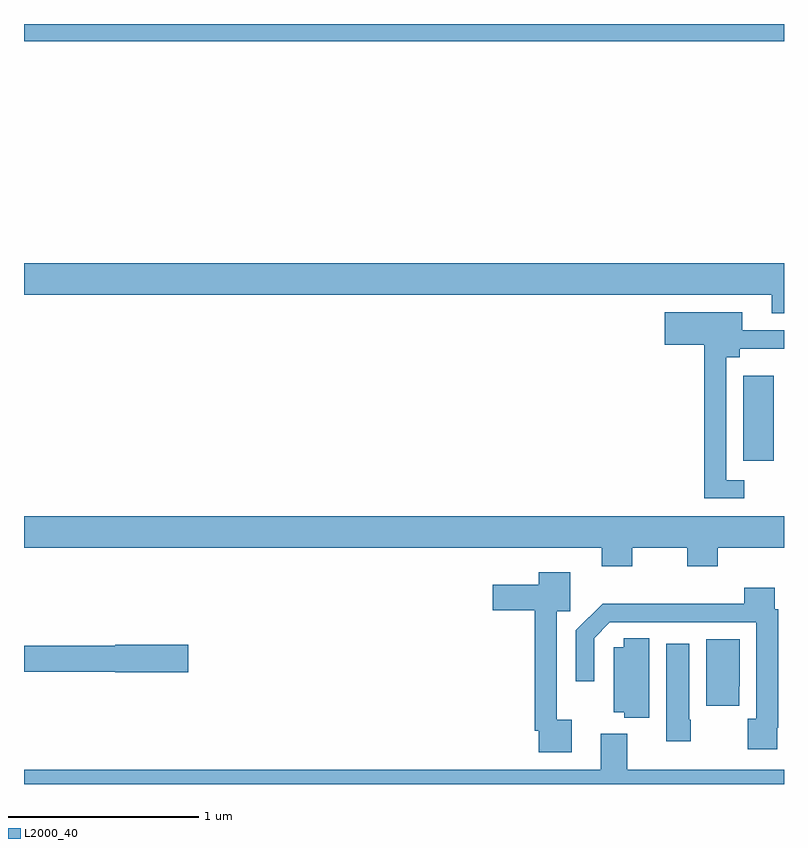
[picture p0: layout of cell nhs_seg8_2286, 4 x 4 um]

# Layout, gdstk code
import gdstk
lib = gdstk.Library(unit=1e-6, precision=1e-09)
def R(c, l, rs):  # rectangles x0, y0, x1, y1
    for r in rs: c.add(gdstk.rectangle(r[:2], r[2:], *l))
def P(c, l, *ps):  # polygons
    for p in ps: c.add(gdstk.Polygon(p, *l))
L2000_40 = (2000, 40)

nhs_seg8_2286 = lib.new_cell('nhs_seg8_2286')
R(nhs_seg8_2286, L2000_40, [(258.785,1139.601,258.946,1140.049), (255,1141.808,259,1141.9)])
P(nhs_seg8_2286, L2000_40, [(255,1140.476),(258.935,1140.476),(258.935,1140.377),(259,1140.377),(259,1140.64),(255,1140.64)],
  [(258.79,1139.499),(258.696,1139.499),(258.696,1140.146),(258.766,1140.146),(258.766,1140.192),(259,1140.192),(259,1140.288),(258.781,1140.288),(258.781,1140.382),(258.372,1140.382),(258.372,1140.212),(258.58,1140.212),(258.58,1139.403),(258.79,1139.403)],
  [(258.201,1139.144),(258.49,1139.144),(258.49,1139.045),(258.65,1139.045),(258.65,1139.144),(259,1139.144),(259,1139.308),(255,1139.308),(255,1139.144),(258.041,1139.144),(258.041,1139.045),(258.201,1139.045)],
  [(257.884,1138.238),(257.805,1138.238),(257.805,1138.809),(257.874,1138.809),(257.874,1139.014),(257.708,1139.014),(257.708,1138.948),(257.466,1138.948),(257.466,1138.814),(257.689,1138.814),(257.689,1138.18),(257.709,1138.18),(257.709,1138.068),(257.884,1138.068)],
  [(258.964,1138.195),(258.971,1138.195),(258.971,1138.82),(258.952,1138.82),(258.952,1138.933),(258.791,1138.933),(258.791,1138.85),(258.045,1138.85),(257.904,1138.708),(257.904,1138.44),(258,1138.44),(258,1138.668),(258.084,1138.752),(258.855,1138.752),(258.855,1138.243),(258.809,1138.243),(258.809,1138.083),(258.964,1138.083)],
  [(258.292,1138.667),(258.156,1138.667),(258.156,1138.62),(258.104,1138.62),(258.104,1138.277),(258.159,1138.277),(258.159,1138.25),(258.292,1138.25)],
  [(258.765,1138.414),(258.766,1138.414),(258.766,1138.663),(258.59,1138.663),(258.59,1138.311),(258.765,1138.311)],
  [(258.51,1138.237),(258.502,1138.237),(258.502,1138.639),(258.38,1138.639),(258.38,1138.125),(258.51,1138.125)],
  [(255.865,1138.634),(255.48,1138.634),(255.48,1138.628),(255,1138.628),(255,1138.492),(255.48,1138.492),(255.48,1138.487),(255.865,1138.487)],
  [(258.035,1138.165),(258.035,1137.976),(255,1137.976),(255,1137.9),(259,1137.9),(259,1137.976),(258.175,1137.976),(258.175,1138.165)])

lib.write_gds('nhs_seg8_2286.gds')
